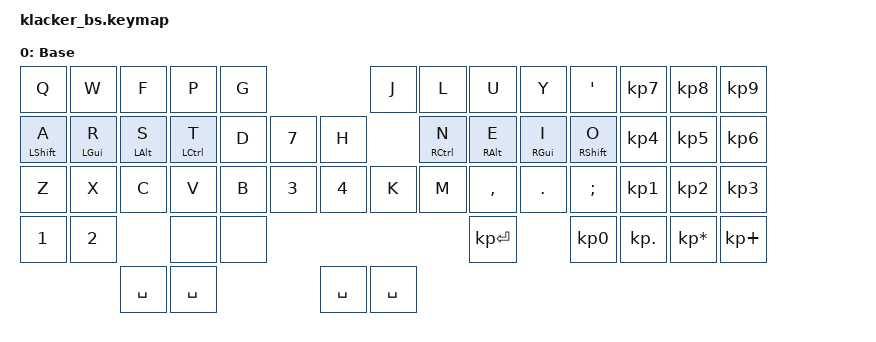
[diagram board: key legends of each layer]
/*
 * Copyright (c) 2021 weteor
 *
 * SPDX-License-Identifier: MIT
 */

#include <behaviors.dtsi>
#include <dt-bindings/zmk/keys.h>
#include <dt-bindings/zmk/bt.h>
#include <dt-bindings/zmk/outputs.h>

#define BASE 0

// repeating space/backspace
&lt { quick_tap_ms = <200>; };

/ {
    combos {
        compatible = "zmk,combos";

        combo_slash {
            timeout-ms = <50>;
            key-positions = <0 13>;
            bindings = <&kp SLASH>;
            };
        combo_lBracket {
            timeout-ms = <50>;
            key-positions = <1 14>;
            bindings = <&kp LEFT_BRACKET>;
            };
        combo_lBrace {
            timeout-ms = <50>;
            key-positions = <2 15>;
            bindings = <&kp LEFT_BRACE>;
            };
        combo_lParanthesis {
            timeout-ms = <50>;
            key-positions = <3 16>;
            bindings = <&kp LEFT_PARENTHESIS>;
            };
        combo_equal {
            timeout-ms = <50>;
            key-positions = <4 17>;
            bindings = <&kp EQUAL>;
            };

        combo_asterix {
            timeout-ms = <50>;
            key-positions = <5 18>;
            bindings = <&kp ASTERISK>;
            };

        combo_rParanthesis {
            timeout-ms = <50>;
            key-positions = <6 19>;
            bindings = <&kp RIGHT_PARENTHESIS>;
            };
        combo_rBrace {
            timeout-ms = <50>;
            key-positions = <7 20>;
            bindings = <&kp RIGHT_BRACE>;
            };
        combo_rBracket {
            timeout-ms = <50>;
            key-positions = <8 21>;
            bindings = <&kp RIGHT_BRACKET>;
            };
        combo_bSlash {
            timeout-ms = <50>;
            key-positions = <9 22>;
            bindings = <&kp BACKSLASH>;
            };

        combo_tab {
            timeout-ms = <50>;
            key-positions = <1 2>;
            bindings = <&kp TAB>;
            };
        combo_backspace {
            timeout-ms = <50>;
            key-positions = <7 8>;
            bindings = <&kp BACKSPACE>;
            };
        combo_backspaceNP {
            timeout-ms = <50>;
            key-positions = <11 12>;
            bindings = <&kp BACKSPACE>;
            };
        combo_esc {
            timeout-ms = <50>;
            key-positions = <0 1>;
            bindings = <&kp ESCAPE>;
            };

    };

    behaviors {
        hm: homerow_mods {
            compatible = "zmk,behavior-hold-tap";
            label = "homerow mods";
            #binding-cells = <2>;
            tapping_term_ms = <180>;
            flavor = "tap-preferred";
            bindings = <&kp>, <&kp>;
        };
    };
    
// COMBOS
// vertical
// -------------------------------     -------------------------------
// |  Q  |  W  |  E  |  R  |  T  |     |  Y  |  U  |  I  |  O  |  P  | 
// |  /  |  [  |  {  |  (  |  =  |     |  *  |  )  |  }  |  ]  |  \  |  
// |  A  |  S  |  D  |  F  |  G  |     |  H  |  J  |  K  |  L  |  '  | 
// others:
// Q + W - escape
// W + E - tab
// I + O - backspace
// C + , - word caps
// both inner thumbs -> Layer CFG
// both left thumbs  -> Layer BLE

    keymap {
        compatible = "zmk,keymap";

        default_layer {
            label = "Base";
            bindings = <
             &kp Q        &kp W       &kp F       &kp P       &kp G                        &kp J       &kp L       &kp U       &kp Y       &kp QUOT        &kp KP_N7     &kp KP_N8        &kp KP_N9  
             &hm LSHFT A  &hm LGUI R  &hm LALT S  &hm LCTRL T &kp D         &kp N7         &kp H       &hm RCTRL N &hm RALT E  &hm RGUI I  &hm RSHFT O     &kp KP_N4     &kp KP_N5        &kp KP_N6  
             &kp Z        &kp X       &kp C       &kp V       &kp B    &kp N3    &kp N4    &kp K       &kp M       &kp COMMA   &kp DOT     &kp SEMI        &kp KP_N1     &kp KP_N2        &kp KP_N3  
             &kp N1       &kp N2                  &none    &none                                                         &kp KP_ENTER &kp KP_N0            &kp KP_DOT    &kp KP_MULTIPLY  &kp KP_PLUS
                                          &kp SPACE  &kp SPACE                    &kp SPACE   &kp SPACE
            >;
        };

    };
};


